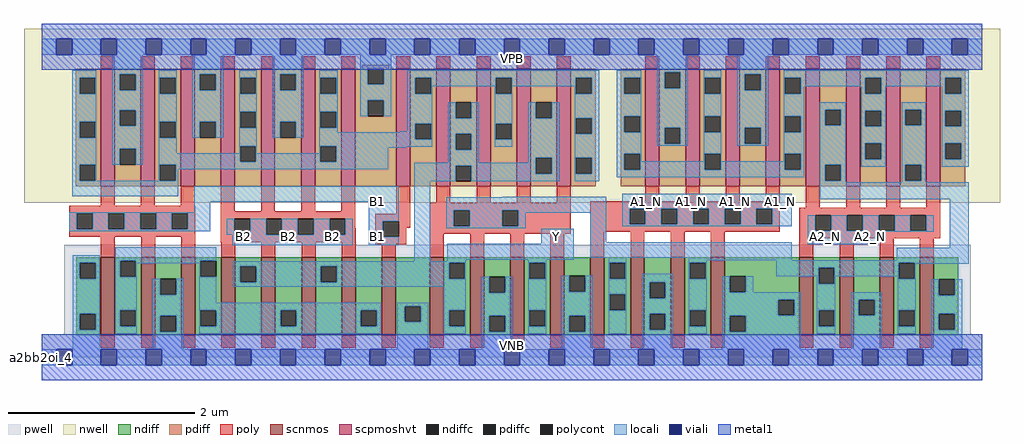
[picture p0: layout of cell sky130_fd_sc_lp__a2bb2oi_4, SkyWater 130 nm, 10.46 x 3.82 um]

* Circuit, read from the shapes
.subckt sky130_fd_sc_lp__a2bb2oi_4 A1_N A2_N B1 B2 VGND VNB VPB VPWR Y
XM1 n1 B1 VGND VNB sky130_fd_pr__nfet_01v8 w=0.84 l=0.15 m=4
XM2 Y B2 n1 VNB sky130_fd_pr__nfet_01v8 w=0.84 l=0.15 m=4
XM3 Y n2 VGND VNB sky130_fd_pr__nfet_01v8 w=0.84 l=0.15 m=4
XM4 n2 A1_N VGND VNB sky130_fd_pr__nfet_01v8 w=0.84 l=0.15 m=4
XM5 n2 A2_N VGND VNB sky130_fd_pr__nfet_01v8 w=0.84 l=0.15 m=4
XM6 VPWR B1 n3 VPB sky130_fd_pr__pfet_01v8_hvt w=1.26 l=0.15 m=4
XM7 n3 B2 VPWR VPB sky130_fd_pr__pfet_01v8_hvt w=1.26 l=0.15 m=4
XM8 Y n2 n3 VPB sky130_fd_pr__pfet_01v8_hvt w=1.26 l=0.15 m=4
XM9 VPWR A1_N n4 VPB sky130_fd_pr__pfet_01v8_hvt w=1.26 l=0.15 m=4
XM10 n2 A2_N n4 VPB sky130_fd_pr__pfet_01v8_hvt w=1.26 l=0.15 m=4
.ends

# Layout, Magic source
magic
tech sky130A
magscale 1 2
<< nwell >>
rect -38 331 2054 704
<< pwell >>
rect 48 49 1991 241
rect 0 0 2016 49
<< scnmos >>
rect 127 47 157 215
rect 213 47 243 215
rect 299 47 329 215
rect 385 47 415 215
rect 471 47 501 215
rect 557 47 587 215
rect 643 47 673 215
rect 729 47 759 215
rect 832 47 862 215
rect 918 47 948 215
rect 1004 47 1034 215
rect 1090 47 1120 215
rect 1176 47 1206 215
rect 1262 47 1292 215
rect 1348 47 1378 215
rect 1434 47 1464 215
rect 1624 47 1654 215
rect 1710 47 1740 215
rect 1796 47 1826 215
rect 1882 47 1912 215
<< scpmoshvt >>
rect 126 367 156 619
rect 212 367 242 619
rect 298 367 328 619
rect 384 367 414 619
rect 470 367 500 619
rect 556 367 586 619
rect 642 367 672 619
rect 760 367 790 619
rect 846 367 876 619
rect 932 367 962 619
rect 1018 367 1048 619
rect 1104 367 1134 619
rect 1294 367 1324 619
rect 1380 367 1410 619
rect 1466 367 1496 619
rect 1552 367 1582 619
rect 1638 367 1668 619
rect 1724 367 1754 619
rect 1810 367 1840 619
rect 1896 367 1926 619
<< ndiff >>
rect 74 203 127 215
rect 74 169 82 203
rect 116 169 127 203
rect 74 93 127 169
rect 74 59 82 93
rect 116 59 127 93
rect 74 47 127 59
rect 157 207 213 215
rect 157 173 168 207
rect 202 173 213 207
rect 157 101 213 173
rect 157 67 168 101
rect 202 67 213 101
rect 157 47 213 67
rect 243 168 299 215
rect 243 134 254 168
rect 288 134 299 168
rect 243 89 299 134
rect 243 55 254 89
rect 288 55 299 89
rect 243 47 299 55
rect 329 207 385 215
rect 329 173 340 207
rect 374 173 385 207
rect 329 101 385 173
rect 329 67 340 101
rect 374 67 385 101
rect 329 47 385 67
rect 415 195 471 215
rect 415 161 426 195
rect 460 161 471 195
rect 415 47 471 161
rect 501 101 557 215
rect 501 67 512 101
rect 546 67 557 101
rect 501 47 557 67
rect 587 195 643 215
rect 587 161 598 195
rect 632 161 643 195
rect 587 47 643 161
rect 673 101 729 215
rect 673 67 684 101
rect 718 67 729 101
rect 673 47 729 67
rect 759 110 832 215
rect 759 76 778 110
rect 812 76 832 110
rect 759 47 832 76
rect 862 203 918 215
rect 862 169 873 203
rect 907 169 918 203
rect 862 101 918 169
rect 862 67 873 101
rect 907 67 918 101
rect 862 47 918 67
rect 948 173 1004 215
rect 948 139 959 173
rect 993 139 1004 173
rect 948 89 1004 139
rect 948 55 959 89
rect 993 55 1004 89
rect 948 47 1004 55
rect 1034 203 1090 215
rect 1034 169 1045 203
rect 1079 169 1090 203
rect 1034 101 1090 169
rect 1034 67 1045 101
rect 1079 67 1090 101
rect 1034 47 1090 67
rect 1120 175 1176 215
rect 1120 141 1131 175
rect 1165 141 1176 175
rect 1120 89 1176 141
rect 1120 55 1131 89
rect 1165 55 1176 89
rect 1120 47 1176 55
rect 1206 203 1262 215
rect 1206 169 1217 203
rect 1251 169 1262 203
rect 1206 135 1262 169
rect 1206 101 1217 135
rect 1251 101 1262 135
rect 1206 47 1262 101
rect 1292 161 1348 215
rect 1292 127 1303 161
rect 1337 127 1348 161
rect 1292 93 1348 127
rect 1292 59 1303 93
rect 1337 59 1348 93
rect 1292 47 1348 59
rect 1378 203 1434 215
rect 1378 169 1389 203
rect 1423 169 1434 203
rect 1378 101 1434 169
rect 1378 67 1389 101
rect 1423 67 1434 101
rect 1378 47 1434 67
rect 1464 174 1624 215
rect 1464 140 1475 174
rect 1509 140 1624 174
rect 1464 124 1624 140
rect 1464 90 1579 124
rect 1613 90 1624 124
rect 1464 89 1624 90
rect 1464 55 1475 89
rect 1509 55 1624 89
rect 1464 47 1624 55
rect 1654 192 1710 215
rect 1654 158 1665 192
rect 1699 158 1710 192
rect 1654 101 1710 158
rect 1654 67 1665 101
rect 1699 67 1710 101
rect 1654 47 1710 67
rect 1740 124 1796 215
rect 1740 90 1751 124
rect 1785 90 1796 124
rect 1740 47 1796 90
rect 1826 203 1882 215
rect 1826 169 1837 203
rect 1871 169 1882 203
rect 1826 101 1882 169
rect 1826 67 1837 101
rect 1871 67 1882 101
rect 1826 47 1882 67
rect 1912 167 1965 215
rect 1912 133 1923 167
rect 1957 133 1965 167
rect 1912 93 1965 133
rect 1912 59 1923 93
rect 1957 59 1965 93
rect 1912 47 1965 59
<< pdiff >>
rect 687 619 745 627
rect 73 599 126 619
rect 73 565 81 599
rect 115 565 126 599
rect 73 505 126 565
rect 73 471 81 505
rect 115 471 126 505
rect 73 413 126 471
rect 73 379 81 413
rect 115 379 126 413
rect 73 367 126 379
rect 156 607 212 619
rect 156 573 167 607
rect 201 573 212 607
rect 156 530 212 573
rect 156 496 167 530
rect 201 496 212 530
rect 156 447 212 496
rect 156 413 167 447
rect 201 413 212 447
rect 156 367 212 413
rect 242 599 298 619
rect 242 565 253 599
rect 287 565 298 599
rect 242 505 298 565
rect 242 471 253 505
rect 287 471 298 505
rect 242 413 298 471
rect 242 379 253 413
rect 287 379 298 413
rect 242 367 298 379
rect 328 607 384 619
rect 328 573 339 607
rect 373 573 384 607
rect 328 505 384 573
rect 328 471 339 505
rect 373 471 384 505
rect 328 367 384 471
rect 414 599 470 619
rect 414 565 425 599
rect 459 565 470 599
rect 414 526 470 565
rect 414 492 425 526
rect 459 492 470 526
rect 414 453 470 492
rect 414 419 425 453
rect 459 419 470 453
rect 414 367 470 419
rect 500 607 556 619
rect 500 573 511 607
rect 545 573 556 607
rect 500 505 556 573
rect 500 471 511 505
rect 545 471 556 505
rect 500 367 556 471
rect 586 599 642 619
rect 586 565 597 599
rect 631 565 642 599
rect 586 526 642 565
rect 586 492 597 526
rect 631 492 642 526
rect 586 453 642 492
rect 586 419 597 453
rect 631 419 642 453
rect 586 367 642 419
rect 672 585 699 619
rect 733 585 760 619
rect 672 551 760 585
rect 672 517 699 551
rect 733 517 760 551
rect 672 367 760 517
rect 790 599 846 619
rect 790 565 801 599
rect 835 565 846 599
rect 790 501 846 565
rect 790 467 801 501
rect 835 467 846 501
rect 790 367 846 467
rect 876 547 932 619
rect 876 513 887 547
rect 921 513 932 547
rect 876 479 932 513
rect 876 445 887 479
rect 921 445 932 479
rect 876 411 932 445
rect 876 377 887 411
rect 921 377 932 411
rect 876 367 932 377
rect 962 599 1018 619
rect 962 565 973 599
rect 1007 565 1018 599
rect 962 501 1018 565
rect 962 467 973 501
rect 1007 467 1018 501
rect 962 367 1018 467
rect 1048 547 1104 619
rect 1048 513 1059 547
rect 1093 513 1104 547
rect 1048 428 1104 513
rect 1048 394 1059 428
rect 1093 394 1104 428
rect 1048 367 1104 394
rect 1134 599 1187 619
rect 1134 565 1145 599
rect 1179 565 1187 599
rect 1134 513 1187 565
rect 1134 479 1145 513
rect 1179 479 1187 513
rect 1134 428 1187 479
rect 1134 394 1145 428
rect 1179 394 1187 428
rect 1134 367 1187 394
rect 1241 599 1294 619
rect 1241 565 1249 599
rect 1283 565 1294 599
rect 1241 517 1294 565
rect 1241 483 1249 517
rect 1283 483 1294 517
rect 1241 436 1294 483
rect 1241 402 1249 436
rect 1283 402 1294 436
rect 1241 367 1294 402
rect 1324 611 1380 619
rect 1324 577 1335 611
rect 1369 577 1380 611
rect 1324 492 1380 577
rect 1324 458 1335 492
rect 1369 458 1380 492
rect 1324 367 1380 458
rect 1410 599 1466 619
rect 1410 565 1421 599
rect 1455 565 1466 599
rect 1410 517 1466 565
rect 1410 483 1421 517
rect 1455 483 1466 517
rect 1410 436 1466 483
rect 1410 402 1421 436
rect 1455 402 1466 436
rect 1410 367 1466 402
rect 1496 607 1552 619
rect 1496 573 1507 607
rect 1541 573 1552 607
rect 1496 492 1552 573
rect 1496 458 1507 492
rect 1541 458 1552 492
rect 1496 367 1552 458
rect 1582 599 1638 619
rect 1582 565 1593 599
rect 1627 565 1638 599
rect 1582 517 1638 565
rect 1582 483 1593 517
rect 1627 483 1638 517
rect 1582 436 1638 483
rect 1582 402 1593 436
rect 1627 402 1638 436
rect 1582 367 1638 402
rect 1668 531 1724 619
rect 1668 497 1679 531
rect 1713 497 1724 531
rect 1668 413 1724 497
rect 1668 379 1679 413
rect 1713 379 1724 413
rect 1668 367 1724 379
rect 1754 599 1810 619
rect 1754 565 1765 599
rect 1799 565 1810 599
rect 1754 529 1810 565
rect 1754 495 1765 529
rect 1799 495 1810 529
rect 1754 459 1810 495
rect 1754 425 1765 459
rect 1799 425 1810 459
rect 1754 367 1810 425
rect 1840 531 1896 619
rect 1840 497 1851 531
rect 1885 497 1896 531
rect 1840 413 1896 497
rect 1840 379 1851 413
rect 1885 379 1896 413
rect 1840 367 1896 379
rect 1926 599 1979 619
rect 1926 565 1937 599
rect 1971 565 1979 599
rect 1926 529 1979 565
rect 1926 495 1937 529
rect 1971 495 1979 529
rect 1926 459 1979 495
rect 1926 425 1937 459
rect 1971 425 1979 459
rect 1926 367 1979 425
<< ndiffc >>
rect 82 169 116 203
rect 82 59 116 93
rect 168 173 202 207
rect 168 67 202 101
rect 254 134 288 168
rect 254 55 288 89
rect 340 173 374 207
rect 340 67 374 101
rect 426 161 460 195
rect 512 67 546 101
rect 598 161 632 195
rect 684 67 718 101
rect 778 76 812 110
rect 873 169 907 203
rect 873 67 907 101
rect 959 139 993 173
rect 959 55 993 89
rect 1045 169 1079 203
rect 1045 67 1079 101
rect 1131 141 1165 175
rect 1131 55 1165 89
rect 1217 169 1251 203
rect 1217 101 1251 135
rect 1303 127 1337 161
rect 1303 59 1337 93
rect 1389 169 1423 203
rect 1389 67 1423 101
rect 1475 140 1509 174
rect 1579 90 1613 124
rect 1475 55 1509 89
rect 1665 158 1699 192
rect 1665 67 1699 101
rect 1751 90 1785 124
rect 1837 169 1871 203
rect 1837 67 1871 101
rect 1923 133 1957 167
rect 1923 59 1957 93
<< pdiffc >>
rect 81 565 115 599
rect 81 471 115 505
rect 81 379 115 413
rect 167 573 201 607
rect 167 496 201 530
rect 167 413 201 447
rect 253 565 287 599
rect 253 471 287 505
rect 253 379 287 413
rect 339 573 373 607
rect 339 471 373 505
rect 425 565 459 599
rect 425 492 459 526
rect 425 419 459 453
rect 511 573 545 607
rect 511 471 545 505
rect 597 565 631 599
rect 597 492 631 526
rect 597 419 631 453
rect 699 585 733 619
rect 699 517 733 551
rect 801 565 835 599
rect 801 467 835 501
rect 887 513 921 547
rect 887 445 921 479
rect 887 377 921 411
rect 973 565 1007 599
rect 973 467 1007 501
rect 1059 513 1093 547
rect 1059 394 1093 428
rect 1145 565 1179 599
rect 1145 479 1179 513
rect 1145 394 1179 428
rect 1249 565 1283 599
rect 1249 483 1283 517
rect 1249 402 1283 436
rect 1335 577 1369 611
rect 1335 458 1369 492
rect 1421 565 1455 599
rect 1421 483 1455 517
rect 1421 402 1455 436
rect 1507 573 1541 607
rect 1507 458 1541 492
rect 1593 565 1627 599
rect 1593 483 1627 517
rect 1593 402 1627 436
rect 1679 497 1713 531
rect 1679 379 1713 413
rect 1765 565 1799 599
rect 1765 495 1799 529
rect 1765 425 1799 459
rect 1851 497 1885 531
rect 1851 379 1885 413
rect 1937 565 1971 599
rect 1937 495 1971 529
rect 1937 425 1971 459
<< poly >>
rect 126 619 156 645
rect 212 619 242 645
rect 298 619 328 645
rect 384 619 414 645
rect 470 619 500 645
rect 556 619 586 645
rect 642 619 672 645
rect 760 619 790 645
rect 846 619 876 645
rect 932 619 962 645
rect 1018 619 1048 645
rect 1104 619 1134 645
rect 1294 619 1324 645
rect 1380 619 1410 645
rect 1466 619 1496 645
rect 1552 619 1582 645
rect 1638 619 1668 645
rect 1724 619 1754 645
rect 1810 619 1840 645
rect 1896 619 1926 645
rect 126 325 156 367
rect 212 325 242 367
rect 298 325 328 367
rect 59 309 329 325
rect 59 275 75 309
rect 109 275 143 309
rect 177 275 211 309
rect 245 275 279 309
rect 313 275 329 309
rect 59 259 329 275
rect 127 215 157 259
rect 213 215 243 259
rect 299 215 329 259
rect 384 313 414 367
rect 470 313 500 367
rect 556 313 586 367
rect 642 313 672 367
rect 384 297 672 313
rect 760 308 790 367
rect 846 331 876 367
rect 932 331 962 367
rect 1018 331 1048 367
rect 1104 331 1134 367
rect 1294 335 1324 367
rect 1380 335 1410 367
rect 1466 335 1496 367
rect 1552 335 1582 367
rect 384 263 413 297
rect 447 263 481 297
rect 515 263 549 297
rect 583 263 617 297
rect 651 277 672 297
rect 715 292 790 308
rect 651 263 673 277
rect 384 247 673 263
rect 385 215 415 247
rect 471 215 501 247
rect 557 215 587 247
rect 643 215 673 247
rect 715 258 731 292
rect 765 278 790 292
rect 832 315 1134 331
rect 832 281 883 315
rect 917 281 987 315
rect 1021 281 1134 315
rect 765 258 781 278
rect 715 242 781 258
rect 832 265 1134 281
rect 1176 319 1582 335
rect 1638 321 1668 367
rect 1724 321 1754 367
rect 1810 321 1840 367
rect 1896 321 1926 367
rect 1176 285 1260 319
rect 1294 285 1328 319
rect 1362 285 1396 319
rect 1430 285 1464 319
rect 1498 285 1532 319
rect 1566 285 1582 319
rect 1176 269 1582 285
rect 1624 305 1926 321
rect 1624 271 1658 305
rect 1692 271 1726 305
rect 1760 271 1794 305
rect 1828 271 1862 305
rect 1896 271 1926 305
rect 729 215 759 242
rect 832 215 862 265
rect 918 215 948 265
rect 1004 215 1034 265
rect 1090 215 1120 265
rect 1176 215 1206 269
rect 1262 215 1292 269
rect 1348 215 1378 269
rect 1434 215 1464 269
rect 1624 255 1926 271
rect 1624 215 1654 255
rect 1710 215 1740 255
rect 1796 215 1826 255
rect 1882 215 1912 255
rect 127 21 157 47
rect 213 21 243 47
rect 299 21 329 47
rect 385 21 415 47
rect 471 21 501 47
rect 557 21 587 47
rect 643 21 673 47
rect 729 21 759 47
rect 832 21 862 47
rect 918 21 948 47
rect 1004 21 1034 47
rect 1090 21 1120 47
rect 1176 21 1206 47
rect 1262 21 1292 47
rect 1348 21 1378 47
rect 1434 21 1464 47
rect 1624 21 1654 47
rect 1710 21 1740 47
rect 1796 21 1826 47
rect 1882 21 1912 47
<< polycont >>
rect 75 275 109 309
rect 143 275 177 309
rect 211 275 245 309
rect 279 275 313 309
rect 413 263 447 297
rect 481 263 515 297
rect 549 263 583 297
rect 617 263 651 297
rect 731 258 765 292
rect 883 281 917 315
rect 987 281 1021 315
rect 1260 285 1294 319
rect 1328 285 1362 319
rect 1396 285 1430 319
rect 1464 285 1498 319
rect 1532 285 1566 319
rect 1658 271 1692 305
rect 1726 271 1760 305
rect 1794 271 1828 305
rect 1862 271 1896 305
<< locali >>
rect 0 649 31 683
rect 65 649 127 683
rect 161 649 223 683
rect 257 649 319 683
rect 353 649 415 683
rect 449 649 511 683
rect 545 649 607 683
rect 641 649 703 683
rect 737 649 799 683
rect 833 649 895 683
rect 929 649 991 683
rect 1025 649 1087 683
rect 1121 649 1183 683
rect 1217 649 1279 683
rect 1313 649 1375 683
rect 1409 649 1471 683
rect 1505 649 1567 683
rect 1601 649 1663 683
rect 1697 649 1759 683
rect 1793 649 1855 683
rect 1889 649 1951 683
rect 1985 649 2016 683
rect 65 599 117 615
rect 65 565 81 599
rect 115 565 117 599
rect 65 505 117 565
rect 65 471 81 505
rect 115 471 117 505
rect 65 413 117 471
rect 151 607 217 649
rect 151 573 167 607
rect 201 573 217 607
rect 151 530 217 573
rect 151 496 167 530
rect 201 496 217 530
rect 151 447 217 496
rect 151 413 167 447
rect 201 413 217 447
rect 251 599 289 615
rect 251 565 253 599
rect 287 565 289 599
rect 251 505 289 565
rect 251 471 253 505
rect 287 471 289 505
rect 323 607 389 649
rect 323 573 339 607
rect 373 573 389 607
rect 323 505 389 573
rect 323 471 339 505
rect 373 471 389 505
rect 423 599 461 615
rect 423 565 425 599
rect 459 565 461 599
rect 423 526 461 565
rect 423 492 425 526
rect 459 492 461 526
rect 251 437 289 471
rect 423 453 461 492
rect 495 607 561 649
rect 683 619 749 649
rect 495 573 511 607
rect 545 573 561 607
rect 495 505 561 573
rect 495 471 511 505
rect 545 471 561 505
rect 595 599 635 615
rect 595 565 597 599
rect 631 565 635 599
rect 595 526 635 565
rect 595 492 597 526
rect 631 492 635 526
rect 683 585 699 619
rect 733 585 749 619
rect 683 551 749 585
rect 683 517 699 551
rect 733 517 749 551
rect 783 599 1195 615
rect 783 565 801 599
rect 835 581 973 599
rect 835 565 837 581
rect 595 483 635 492
rect 783 501 837 565
rect 971 565 973 581
rect 1007 581 1145 599
rect 1007 565 1009 581
rect 783 485 801 501
rect 769 483 801 485
rect 423 437 425 453
rect 251 419 425 437
rect 459 437 461 453
rect 595 467 801 483
rect 835 467 837 501
rect 595 453 837 467
rect 595 437 597 453
rect 459 419 597 437
rect 631 451 837 453
rect 871 513 887 547
rect 921 513 937 547
rect 871 479 937 513
rect 631 449 781 451
rect 631 419 743 449
rect 251 413 743 419
rect 871 445 887 479
rect 921 445 937 479
rect 971 501 1009 565
rect 1143 565 1145 581
rect 1179 565 1195 599
rect 971 467 973 501
rect 1007 467 1009 501
rect 971 451 1009 467
rect 1043 513 1059 547
rect 1093 513 1109 547
rect 871 417 937 445
rect 1043 428 1109 513
rect 1043 417 1059 428
rect 65 379 81 413
rect 115 379 117 413
rect 251 379 253 413
rect 287 403 743 413
rect 799 411 1059 417
rect 287 379 293 403
rect 65 345 293 379
rect 799 377 887 411
rect 921 394 1059 411
rect 1093 394 1109 428
rect 921 378 1109 394
rect 1143 513 1195 565
rect 1143 479 1145 513
rect 1179 479 1195 513
rect 1143 428 1195 479
rect 1143 394 1145 428
rect 1179 394 1195 428
rect 1143 378 1195 394
rect 1233 599 1285 615
rect 1233 565 1249 599
rect 1283 565 1285 599
rect 1233 517 1285 565
rect 1233 483 1249 517
rect 1283 483 1285 517
rect 1233 436 1285 483
rect 1319 611 1385 649
rect 1319 577 1335 611
rect 1369 577 1385 611
rect 1319 492 1385 577
rect 1319 458 1335 492
rect 1369 458 1385 492
rect 1319 454 1385 458
rect 1419 599 1457 615
rect 1419 565 1421 599
rect 1455 565 1457 599
rect 1419 517 1457 565
rect 1419 483 1421 517
rect 1455 483 1457 517
rect 1233 402 1249 436
rect 1283 420 1285 436
rect 1419 436 1457 483
rect 1491 607 1557 649
rect 1491 573 1507 607
rect 1541 573 1557 607
rect 1491 492 1557 573
rect 1491 458 1507 492
rect 1541 458 1557 492
rect 1491 454 1557 458
rect 1591 599 1987 615
rect 1591 565 1593 599
rect 1627 581 1765 599
rect 1627 565 1634 581
rect 1591 517 1634 565
rect 1757 565 1765 581
rect 1799 581 1937 599
rect 1799 565 1809 581
rect 1591 483 1593 517
rect 1627 483 1634 517
rect 1419 420 1421 436
rect 1283 402 1421 420
rect 1455 420 1457 436
rect 1591 436 1634 483
rect 1591 420 1593 436
rect 1455 402 1593 420
rect 1627 402 1634 436
rect 1233 386 1634 402
rect 1668 531 1723 547
rect 1668 497 1679 531
rect 1713 497 1723 531
rect 1668 413 1723 497
rect 1668 379 1679 413
rect 1713 379 1723 413
rect 1757 529 1809 565
rect 1929 565 1937 581
rect 1971 565 1987 599
rect 1757 495 1765 529
rect 1799 495 1809 529
rect 1757 459 1809 495
rect 1757 425 1765 459
rect 1799 425 1809 459
rect 1757 409 1809 425
rect 1843 531 1895 547
rect 1843 497 1851 531
rect 1885 497 1895 531
rect 1843 413 1895 497
rect 921 377 954 378
rect 327 333 765 367
rect 327 311 361 333
rect 59 309 361 311
rect 59 275 75 309
rect 109 275 143 309
rect 177 275 211 309
rect 245 275 279 309
rect 313 275 361 309
rect 59 270 361 275
rect 397 263 413 297
rect 447 263 481 297
rect 515 263 549 297
rect 583 263 617 297
rect 651 263 667 297
rect 408 240 667 263
rect 701 292 765 333
rect 701 258 731 292
rect 701 240 765 258
rect 66 203 124 219
rect 66 169 82 203
rect 116 169 124 203
rect 66 93 124 169
rect 66 59 82 93
rect 116 59 124 93
rect 66 17 124 59
rect 158 207 374 236
rect 158 173 168 207
rect 202 202 340 207
rect 202 173 204 202
rect 158 101 204 173
rect 338 173 340 202
rect 799 206 833 377
rect 1668 375 1723 379
rect 1843 379 1851 413
rect 1885 379 1895 413
rect 1929 529 1987 565
rect 1929 495 1937 529
rect 1971 495 1987 529
rect 1929 459 1987 495
rect 1929 425 1937 459
rect 1971 425 1987 459
rect 1929 409 1987 425
rect 1843 375 1895 379
rect 988 343 1210 344
rect 867 315 1210 343
rect 867 281 883 315
rect 917 281 987 315
rect 1021 310 1210 315
rect 1021 281 1037 310
rect 867 277 1037 281
rect 1071 243 1140 276
rect 869 209 1140 243
rect 1176 247 1210 310
rect 1244 319 1608 351
rect 1668 339 1987 375
rect 1244 285 1260 319
rect 1294 285 1328 319
rect 1362 285 1396 319
rect 1430 285 1464 319
rect 1498 285 1532 319
rect 1566 285 1608 319
rect 1244 281 1608 285
rect 1642 271 1658 305
rect 1692 271 1726 305
rect 1760 271 1794 305
rect 1828 271 1862 305
rect 1896 271 1912 305
rect 1642 269 1912 271
rect 1176 213 1608 247
rect 1642 242 1793 269
rect 1946 235 1987 339
rect 869 206 909 209
rect 158 67 168 101
rect 202 67 204 101
rect 158 51 204 67
rect 238 134 254 168
rect 288 134 304 168
rect 238 89 304 134
rect 238 55 254 89
rect 288 55 304 89
rect 238 17 304 55
rect 338 117 374 173
rect 410 203 909 206
rect 410 195 873 203
rect 410 161 426 195
rect 460 161 598 195
rect 632 169 873 195
rect 907 169 909 203
rect 1043 203 1081 209
rect 632 161 909 169
rect 410 151 909 161
rect 338 101 728 117
rect 338 67 340 101
rect 374 67 512 101
rect 546 67 684 101
rect 718 67 728 101
rect 338 51 728 67
rect 762 110 828 117
rect 762 76 778 110
rect 812 76 828 110
rect 762 17 828 76
rect 862 101 909 151
rect 862 67 873 101
rect 907 67 909 101
rect 862 51 909 67
rect 943 139 959 173
rect 993 139 1009 173
rect 943 89 1009 139
rect 943 55 959 89
rect 993 55 1009 89
rect 943 17 1009 55
rect 1043 169 1045 203
rect 1079 169 1081 203
rect 1215 203 1253 213
rect 1043 101 1081 169
rect 1043 67 1045 101
rect 1079 67 1081 101
rect 1043 51 1081 67
rect 1115 141 1131 175
rect 1165 141 1181 175
rect 1115 89 1181 141
rect 1115 55 1131 89
rect 1165 55 1181 89
rect 1115 17 1181 55
rect 1215 169 1217 203
rect 1251 169 1253 203
rect 1387 208 1608 213
rect 1833 208 1987 235
rect 1387 203 1425 208
rect 1215 135 1253 169
rect 1215 101 1217 135
rect 1251 101 1253 135
rect 1215 51 1253 101
rect 1287 161 1353 179
rect 1287 127 1303 161
rect 1337 127 1353 161
rect 1287 93 1353 127
rect 1287 59 1303 93
rect 1337 59 1353 93
rect 1287 17 1353 59
rect 1387 169 1389 203
rect 1423 169 1425 203
rect 1574 203 1987 208
rect 1574 192 1837 203
rect 1574 174 1665 192
rect 1387 101 1425 169
rect 1387 67 1389 101
rect 1423 67 1425 101
rect 1387 51 1425 67
rect 1459 140 1475 174
rect 1509 140 1525 174
rect 1661 158 1665 174
rect 1699 174 1837 192
rect 1699 158 1701 174
rect 1459 124 1627 140
rect 1459 90 1579 124
rect 1613 90 1627 124
rect 1459 89 1627 90
rect 1459 55 1475 89
rect 1509 55 1627 89
rect 1459 17 1627 55
rect 1661 101 1701 158
rect 1835 169 1837 174
rect 1871 201 1987 203
rect 1871 169 1873 201
rect 1661 67 1665 101
rect 1699 67 1701 101
rect 1661 51 1701 67
rect 1735 124 1801 140
rect 1735 90 1751 124
rect 1785 90 1801 124
rect 1735 17 1801 90
rect 1835 101 1873 169
rect 1835 67 1837 101
rect 1871 67 1873 101
rect 1835 51 1873 67
rect 1907 133 1923 167
rect 1957 133 1973 167
rect 1907 93 1973 133
rect 1907 59 1923 93
rect 1957 59 1973 93
rect 1907 17 1973 59
rect 0 -17 31 17
rect 65 -17 127 17
rect 161 -17 223 17
rect 257 -17 319 17
rect 353 -17 415 17
rect 449 -17 511 17
rect 545 -17 607 17
rect 641 -17 703 17
rect 737 -17 799 17
rect 833 -17 895 17
rect 929 -17 991 17
rect 1025 -17 1087 17
rect 1121 -17 1183 17
rect 1217 -17 1279 17
rect 1313 -17 1375 17
rect 1409 -17 1471 17
rect 1505 -17 1567 17
rect 1601 -17 1663 17
rect 1697 -17 1759 17
rect 1793 -17 1855 17
rect 1889 -17 1951 17
rect 1985 -17 2016 17
<< viali >>
rect 31 649 65 683
rect 127 649 161 683
rect 223 649 257 683
rect 319 649 353 683
rect 415 649 449 683
rect 511 649 545 683
rect 607 649 641 683
rect 703 649 737 683
rect 799 649 833 683
rect 895 649 929 683
rect 991 649 1025 683
rect 1087 649 1121 683
rect 1183 649 1217 683
rect 1279 649 1313 683
rect 1375 649 1409 683
rect 1471 649 1505 683
rect 1567 649 1601 683
rect 1663 649 1697 683
rect 1759 649 1793 683
rect 1855 649 1889 683
rect 1951 649 1985 683
rect 31 -17 65 17
rect 127 -17 161 17
rect 223 -17 257 17
rect 319 -17 353 17
rect 415 -17 449 17
rect 511 -17 545 17
rect 607 -17 641 17
rect 703 -17 737 17
rect 799 -17 833 17
rect 895 -17 929 17
rect 991 -17 1025 17
rect 1087 -17 1121 17
rect 1183 -17 1217 17
rect 1279 -17 1313 17
rect 1375 -17 1409 17
rect 1471 -17 1505 17
rect 1567 -17 1601 17
rect 1663 -17 1697 17
rect 1759 -17 1793 17
rect 1855 -17 1889 17
rect 1951 -17 1985 17
<< metal1 >>
rect 0 683 2016 715
rect 0 649 31 683
rect 65 649 127 683
rect 161 649 223 683
rect 257 649 319 683
rect 353 649 415 683
rect 449 649 511 683
rect 545 649 607 683
rect 641 649 703 683
rect 737 649 799 683
rect 833 649 895 683
rect 929 649 991 683
rect 1025 649 1087 683
rect 1121 649 1183 683
rect 1217 649 1279 683
rect 1313 649 1375 683
rect 1409 649 1471 683
rect 1505 649 1567 683
rect 1601 649 1663 683
rect 1697 649 1759 683
rect 1793 649 1855 683
rect 1889 649 1951 683
rect 1985 649 2016 683
rect 0 617 2016 649
rect 0 17 2016 49
rect 0 -17 31 17
rect 65 -17 127 17
rect 161 -17 223 17
rect 257 -17 319 17
rect 353 -17 415 17
rect 449 -17 511 17
rect 545 -17 607 17
rect 641 -17 703 17
rect 737 -17 799 17
rect 833 -17 895 17
rect 929 -17 991 17
rect 1025 -17 1087 17
rect 1121 -17 1183 17
rect 1217 -17 1279 17
rect 1313 -17 1375 17
rect 1409 -17 1471 17
rect 1505 -17 1567 17
rect 1601 -17 1663 17
rect 1697 -17 1759 17
rect 1793 -17 1855 17
rect 1889 -17 1951 17
rect 1985 -17 2016 17
rect 0 -49 2016 -17
<< labels >>
flabel pwell s 0 0 2016 49 0 FreeSans 200 0 0 0 VNB
port 6 nsew ground bidirectional
flabel nwell s 0 617 2016 666 0 FreeSans 200 0 0 0 VPB
port 7 nsew power bidirectional
rlabel comment s 0 0 0 0 4 a2bb2oi_4
flabel metal1 s 0 617 2016 666 0 FreeSans 340 0 0 0 VPWR
port 8 nsew power bidirectional
flabel metal1 s 0 0 2016 49 0 FreeSans 340 0 0 0 VGND
port 5 nsew ground bidirectional
flabel locali s 1279 316 1313 350 0 FreeSans 340 0 0 0 A1_N
port 1 nsew signal input
flabel locali s 1375 316 1409 350 0 FreeSans 340 0 0 0 A1_N
port 1 nsew signal input
flabel locali s 1471 316 1505 350 0 FreeSans 340 0 0 0 A1_N
port 1 nsew signal input
flabel locali s 1567 316 1601 350 0 FreeSans 340 0 0 0 A1_N
port 1 nsew signal input
flabel locali s 1663 242 1697 276 0 FreeSans 340 0 0 0 A2_N
port 2 nsew signal input
flabel locali s 1759 242 1793 276 0 FreeSans 340 0 0 0 A2_N
port 2 nsew signal input
flabel locali s 415 242 449 276 0 FreeSans 340 0 0 0 B2
port 4 nsew signal input
flabel locali s 511 242 545 276 0 FreeSans 340 0 0 0 B2
port 4 nsew signal input
flabel locali s 607 242 641 276 0 FreeSans 340 0 0 0 B2
port 4 nsew signal input
flabel locali s 703 242 737 276 0 FreeSans 340 0 0 0 B1
port 3 nsew signal input
flabel locali s 703 316 737 350 0 FreeSans 340 0 0 0 B1
port 3 nsew signal input
flabel locali s 1087 242 1121 276 0 FreeSans 340 0 0 0 Y
port 9 nsew signal output
<< properties >>
string LEFsite unit
string LEFclass CORE
string FIXED_BBOX 0 0 2016 666
string GDS_FILE $PDKPATH/libs.ref/sky130_fd_sc_lp/gds/sky130_fd_sc_lp.gds
string LEFsymmetry X Y R90
string GDS_END 3104868
string GDS_START 3088112
<< end >>
